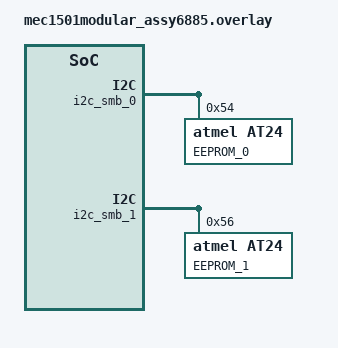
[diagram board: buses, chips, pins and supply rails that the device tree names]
/*
 * Copyright (c) 2020 Intel Corporation
 *
 * SPDX-License-Identifier: Apache-2.0
 */

&i2c_smb_0 {
	eeprom0: eeprom@54 {
		compatible = "atmel,at24";
		reg = <0x54>;
		label = "EEPROM_0";
		size = <1024>;
		pagesize = <16>;
		address-width = <8>;
		timeout = <5>;
	};
};


&i2c_smb_1 {
	eeprom1: eeprom@56 {
		compatible = "atmel,at24";
		reg = <0x56>;
		label = "EEPROM_1";
		size = <1024>;
		pagesize = <16>;
		address-width = <8>;
		timeout = <5>;
	};
};
